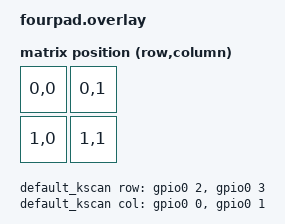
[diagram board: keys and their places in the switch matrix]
#include <dt-bindings/zmk/matrix_transform.h>

/ {
    chosen {
        zmk,kscan = &default_kscan;
        zmk,matrix_transform = &default_transform;
        /delete-property/ zephyr,console;
        /delete-property/ zephyr,shell-uart;
    };

    default_kscan: kscan {
        compatible = "zmk,kscan-gpio-matrix";
        label = "default_kscan";
        diode-direction = "col2row";

        col-gpios
            = <&gpio0 0 GPIO_ACTIVE_HIGH>
            , <&gpio0 1 GPIO_ACTIVE_HIGH>
            ;

        row-gpios
            = <&gpio0 2 (GPIO_ACTIVE_HIGH | GPIO_PULL_DOWN)>
            , <&gpio0 3 (GPIO_ACTIVE_HIGH | GPIO_PULL_DOWN)>
            ;
    };

    default_transform: matrix_transform {
        compatible = "zmk,matrix-transform";
        columns = <2>;
        rows = <2>;
        map = <
            RC(0,0) RC(0,1)
            RC(1,0) RC(1,1)
        >;
    };
};

